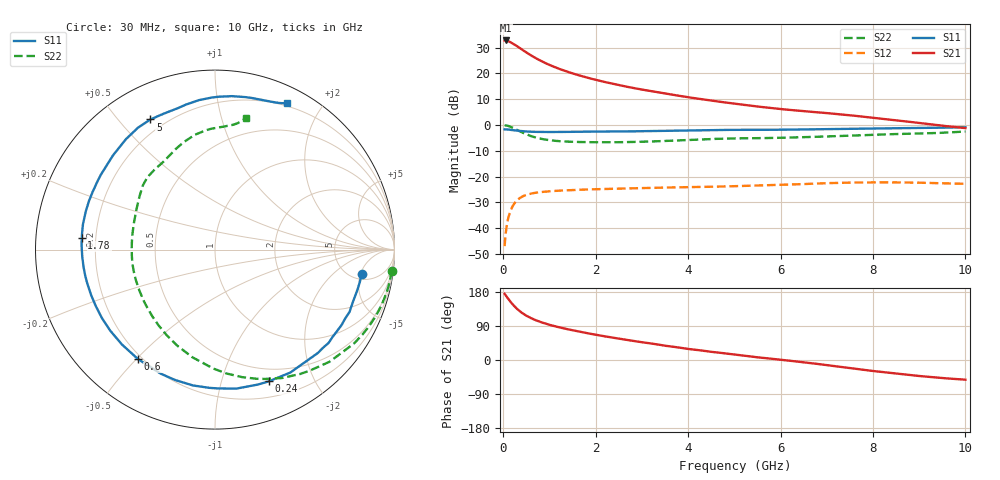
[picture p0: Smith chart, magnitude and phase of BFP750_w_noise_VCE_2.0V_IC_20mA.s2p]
! Infineon Technologies  Discrete & RF Semiconductors
! BFP750
! VCE =  2.0 V,  IC =  20 mA
! Common Emitter S-Parameters:  Jan 2016
# GHz  S  MA  R  50
!  f  S11  S21  S12  S22
! GHz  MAG  ANG  MAG  ANG  MAG  ANG  MAG  ANG
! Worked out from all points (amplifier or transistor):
!   229 points, 30 MHz to 10 GHz, reference 50 ohm
!   highest |S21| = 32.8 dB at 50 MHz (marker M1)
!   |S21| within 3 dB of that: start of sweep to 362.9 MHz
!   unconditionally stable (mu >= 1): 4.785 GHz to end of sweep
!   at 280 MHz: K = 0.11, MSG = 30.2 dB, |S12| = -29.5 dB
!   at 1.78 GHz: K = 0.51, MSG = 21.8 dB, |S12| = -25.0 dB
!   at 10 GHz: K = 1.09, MAG = 9.0 dB, |S12| = -22.8 dB
!   lowest NFmin = 0.73 dB at 450 MHz
!   S11 on the Smith chart (normalised r, x): 30 MHz: 6.13, -5.23; 240 MHz: 0.36, -1.43; 600 MHz: 0.18, -0.51; 1.78 GHz: 0.15, +0.04; 5 GHz: 0.15, +0.61; 10 GHz: 0.17, +1.60
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0.03  0.8284 -9.3  43.58 174.7  0.0045 85.0  0.9913 -6.9
0.05  0.8247 -15.6  43.68 170.8  0.0074 81.8  0.9887 -11.6
0.08  0.8261 -24.8  43.12 166.2  0.0117 77.5  0.9775 -18.6
0.15  0.8126 -45.1  40.74 154.7  0.021 67.5  0.9337 -34.2
0.2  0.8034 -58.5  38.52 147.3  0.0265 61.2  0.8931 -44.4
0.24  0.7928 -67.8  36.62 142.2  0.0302 56.3  0.8567 -51.9
0.3  0.7836 -81.2  33.84 134.8  0.035 50.4  0.8063 -62.6
0.4  0.7668 -99.2  29.37 124.8  0.0407 42.2  0.727 -77.9
0.5  0.7547 -113.6  25.57 116.9  0.0445 35.9  0.6629 -90.8
0.6  0.7458 -125.1  22.44 110.5  0.047 31.2  0.6131 -101.8
0.8  0.7381 -142.3  17.83 100.5  0.0502 24.6  0.5472 -119.5
1  0.7349 -154.8  14.64 92.9  0.0521 20.2  0.5101 -133.2
1.3  0.7376 -168.7  11.51 83.7  0.0541 15.8  0.4825 -148.8
1.7  0.7438 177.4  8.887 73.6  0.056 11.9  0.4691 -164.3
1.78  0.745 175.1  8.487 71.7  0.0563 11.3  0.4677 -166.9
2.58  0.7535 155.2  5.755 54.7  0.0588 6.2  0.467 170.9
3.4  0.7695 139.1  4.233 39.8  0.0613 2.2  0.4884 154.2
5  0.8096 116.4  2.603 14.2  0.0655 -4.0  0.5521 133.0
5.1  0.8089 115.2  2.538 12.9  0.0658 -4.4  0.5529 131.8
6.8  0.8314 98.2  1.767 -10.4  0.0737 -12.3  0.5939 112.9
8.4  0.8662 78.8  1.266 -34.4  0.0775 -24.7  0.6664 94.5
10  0.9092 63.7  0.875 -51.9  0.0728 -34.5  0.7507 76.9
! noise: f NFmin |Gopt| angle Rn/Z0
0.45  0.73  0.04  -167  3.69
0.9  0.75  0.07  -173  0.54
1.5  0.76  0.1  -175  0.25
1.9  0.78  0.15  -172  0.1
2.4  0.82  0.16  -169  0.11
3.5  1.07  0.25  -145  0.07
